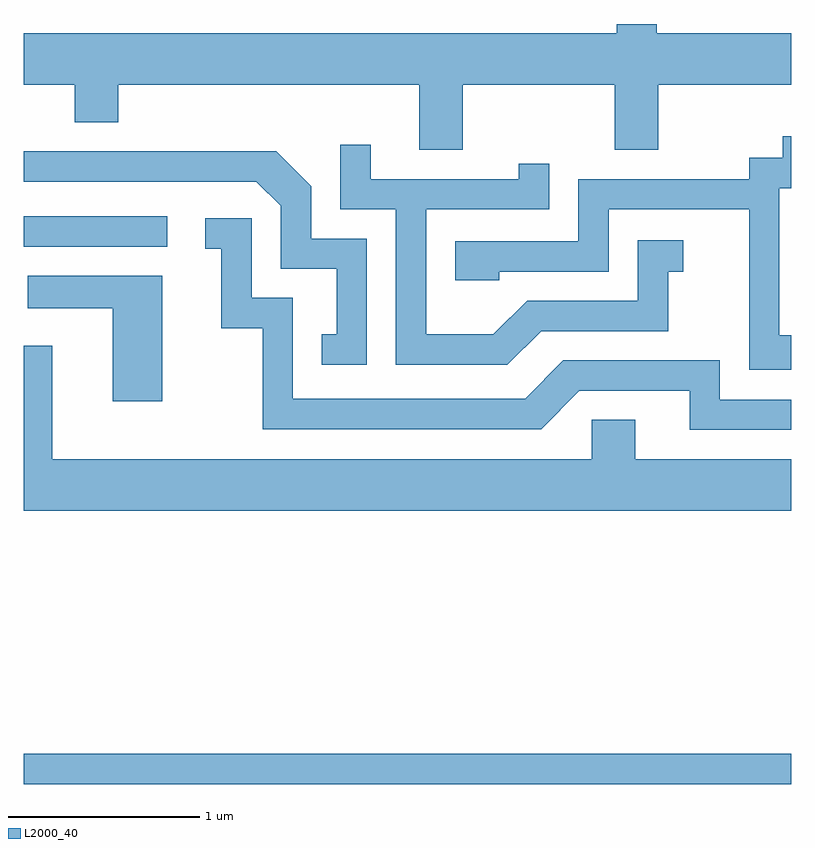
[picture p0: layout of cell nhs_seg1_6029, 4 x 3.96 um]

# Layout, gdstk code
import gdstk
lib = gdstk.Library(unit=1e-6, precision=1e-09)
def R(c, l, rs):  # rectangles x0, y0, x1, y1
    for r in rs: c.add(gdstk.rectangle(r[:2], r[2:], *l))
def P(c, l, *ps):  # polygons
    for p in ps: c.add(gdstk.Polygon(p, *l))
L2000_40 = (2000, 40)

nhs_seg1_6029 = lib.new_cell('nhs_seg1_6029')
R(nhs_seg1_6029, L2000_40, [(367.611,853.751,371.611,853.909), (367.611,856.551,368.358,856.709)])
P(nhs_seg1_6029, L2000_40, [(369.899,857.396),(370.691,857.396),(370.691,857.056),(370.919,857.056),(370.919,857.396),(371.611,857.396),(371.611,857.664),(370.909,857.664),(370.909,857.712),(370.701,857.712),(370.701,857.664),(367.611,857.664),(367.611,857.396),(367.876,857.396),(367.876,857.201),(368.104,857.201),(368.104,857.396),(369.671,857.396),(369.671,857.056),(369.899,857.056)],
  [(371.611,856.089),(371.549,856.089),(371.549,856.856),(371.611,856.856),(371.611,857.128),(371.566,857.128),(371.566,857.014),(371.391,857.014),(371.391,856.904),(370.501,856.904),(370.501,856.579),(369.861,856.579),(369.861,856.376),(370.089,856.376),(370.089,856.421),(370.659,856.421),(370.659,856.746),(371.391,856.746),(371.391,855.911),(371.611,855.911)],
  [(370.307,856.111),(370.969,856.111),(370.969,856.421),(371.048,856.421),(371.048,856.584),(370.811,856.584),(370.811,856.269),(370.234,856.269),(370.059,856.094),(369.709,856.094),(369.709,856.746),(370.349,856.746),(370.349,856.983),(370.191,856.983),(370.191,856.904),(369.419,856.904),(369.419,857.083),(369.261,857.083),(369.261,856.746),(369.551,856.746),(369.551,855.936),(370.132,855.936)],
  [(369.399,856.594),(369.109,856.594),(369.109,856.867),(368.927,857.049),(367.611,857.049),(367.611,856.891),(368.824,856.891),(368.951,856.764),(368.951,856.436),(369.241,856.436),(369.241,856.094),(369.163,856.094),(369.163,855.936),(369.399,855.936)],
  [(371.611,855.754),(371.239,855.754),(371.239,855.959),(370.424,855.959),(370.224,855.759),(369.014,855.759),(369.014,856.284),(368.799,856.284),(368.799,856.699),(368.558,856.699),(368.558,856.541),(368.641,856.541),(368.641,856.126),(368.856,856.126),(368.856,855.601),(370.307,855.601),(370.507,855.801),(371.081,855.801),(371.081,855.596),(371.611,855.596)],
  [(368.334,856.399),(367.633,856.399),(367.633,856.231),(368.076,856.231),(368.076,855.746),(368.334,855.746)],
  [(371.611,855.444),(370.799,855.444),(370.799,855.649),(370.571,855.649),(370.571,855.444),(367.759,855.444),(367.759,856.034),(367.611,856.034),(367.611,855.176),(371.611,855.176)])

lib.write_gds('nhs_seg1_6029.gds')
